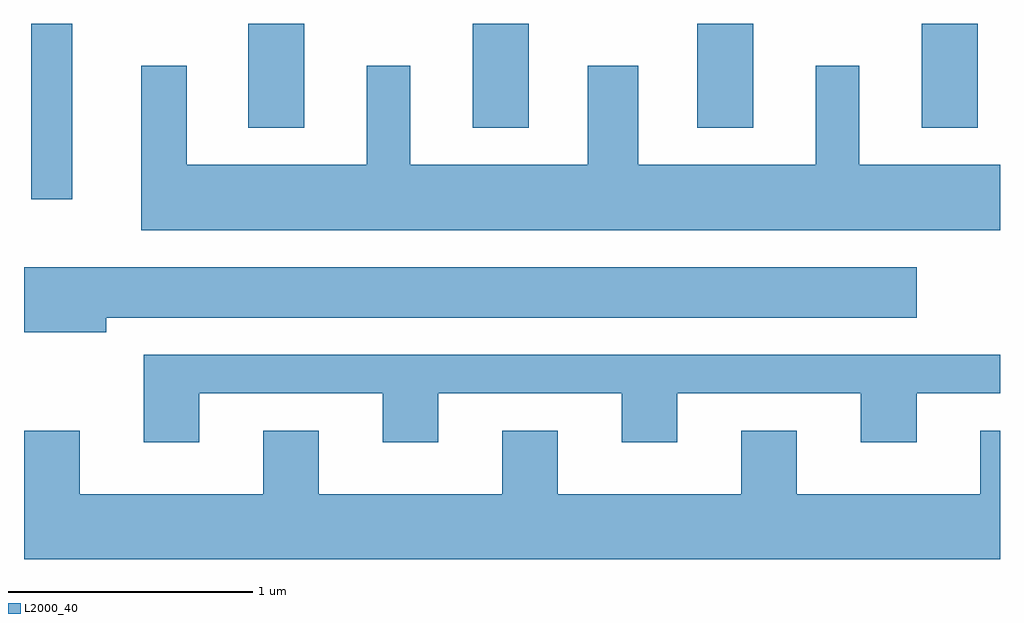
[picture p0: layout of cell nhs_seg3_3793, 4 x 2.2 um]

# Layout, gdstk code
import gdstk
lib = gdstk.Library(unit=1e-6, precision=1e-09)
def R(c, l, rs):  # rectangles x0, y0, x1, y1
    for r in rs: c.add(gdstk.rectangle(r[:2], r[2:], *l))
def A(c, l, x, y, w, h, nx, ny, dx, dy):  # array of equal rectangles
    R(c, l, [(x+i*dx, y+j*dy, x+i*dx+w, y+j*dy+h) for i in range(nx) for j in range(ny)])
def P(c, l, *ps):  # polygons
    for p in ps: c.add(gdstk.Polygon(p, *l))
L2000_40 = (2000, 40)

nhs_seg3_3793 = lib.new_cell('nhs_seg3_3793')
A(nhs_seg3_3793, L2000_40, 296.531, 1225.466, 0.228, 0.426, 4, 1, 0.92, 0)
R(nhs_seg3_3793, L2000_40, [(295.641,1225.173,295.809,1225.892)])
P(nhs_seg3_3793, L2000_40, [(299.611,1225.314),(299.034,1225.314),(299.034,1225.719),(298.856,1225.719),(298.856,1225.314),(298.129,1225.314),(298.129,1225.719),(297.921,1225.719),(297.921,1225.314),(297.194,1225.314),(297.194,1225.719),(297.016,1225.719),(297.016,1225.314),(296.279,1225.314),(296.279,1225.719),(296.091,1225.719),(296.091,1225.046),(299.611,1225.046)],
  [(295.949,1224.686),(299.269,1224.686),(299.269,1224.894),(295.611,1224.894),(295.611,1224.626),(295.949,1224.626)],
  [(296.329,1224.376),(297.081,1224.376),(297.081,1224.176),(297.309,1224.176),(297.309,1224.376),(298.061,1224.376),(298.061,1224.176),(298.289,1224.176),(298.289,1224.376),(299.041,1224.376),(299.041,1224.176),(299.269,1224.176),(299.269,1224.376),(299.611,1224.376),(299.611,1224.534),(296.101,1224.534),(296.101,1224.176),(296.329,1224.176)],
  [(299.611,1224.224),(299.531,1224.224),(299.531,1223.964),(298.779,1223.964),(298.779,1224.224),(298.551,1224.224),(298.551,1223.964),(297.799,1223.964),(297.799,1224.224),(297.571,1224.224),(297.571,1223.964),(296.819,1223.964),(296.819,1224.224),(296.591,1224.224),(296.591,1223.964),(295.839,1223.964),(295.839,1224.224),(295.611,1224.224),(295.611,1223.696),(299.611,1223.696)])

lib.write_gds('nhs_seg3_3793.gds')
